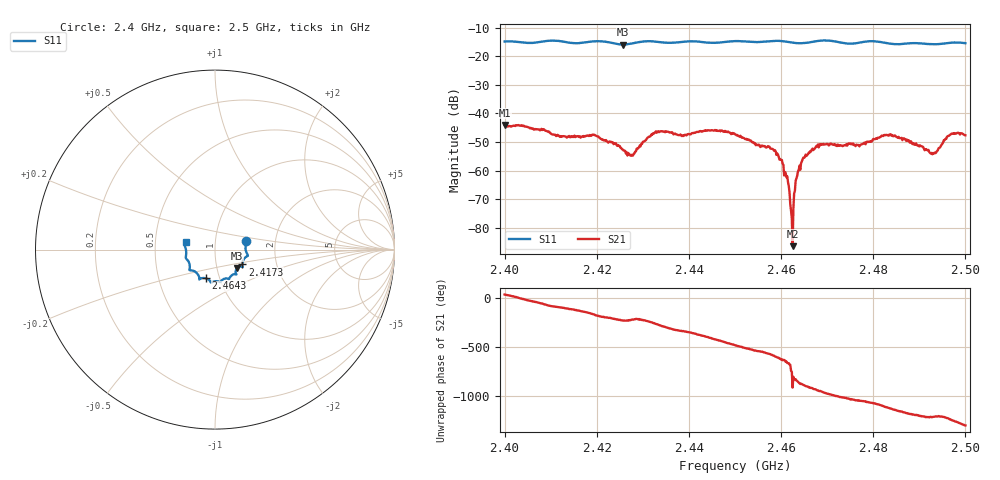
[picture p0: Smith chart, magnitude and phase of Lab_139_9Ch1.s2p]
# Hz S RI R 50
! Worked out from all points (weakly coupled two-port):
!   601 points, 2.4 GHz to 2.5 GHz, reference 50 ohm
!   highest |S21| = -44.10 dB at 2.4 GHz (marker M1); lowest = -86.5 dB at 2.4625 GHz (marker M2)
!   lowest |S11| = -15.9 dB at 2.4257 GHz (marker M3), VSWR 1.38, Z = 62.4 - j13.1 ohm
!   |S11| at or under -10 dB: start of sweep to end of sweep
!   S12 and S22 are empty: the file has one direction only
!   S11 on the Smith chart (normalised r, x): 2.4 GHz: 1.41, +0.14; 2.4173 GHz: 1.34, -0.23; 2.4643 GHz: 0.86, -0.28; 2.5 GHz: 0.72, +0.06
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2.4e9  0.1735 0.0495  0.0053 0.00329  0 0  0 0
2.416667e9  0.1529 -0.0751  -0.00291 -0.00259  0 0  0 0
2.417333e9  0.1523 -0.0825  -0.00317 -0.00229  0 0  0 0
2.419833e9  0.1541 -0.0971  -0.00406 -4.78e-05  0 0  0 0
2.425667e9  0.1224 -0.1024  -0.00139 0.00186  0 0  0 0
2.427667e9  0.1151 -0.1207  -0.00135 0.00123  0 0  0 0
2.433333e9  0.1127 -0.1367  0.000384 0.00485  0 0  0 0
2.45e9  0.0296 -0.1808  -0.00248 -0.00351  0 0  0 0
2.458833e9  -0.0209 -0.184  -0.00102 0.0019  0 0  0 0
2.460833e9  -0.0254 -0.1789  0.00015 0.00093  0 0  0 0
2.461333e9  -0.0269 -0.1761  0.000457 0.000649  0 0  0 0
2.462167e9  -0.0304 -0.1714  0.000179 -8.32e-05  0 0  0 0
2.4625e9  -0.0326 -0.1693  -4.57e-05 1.31e-05  0 0  0 0
2.463333e9  -0.0392 -0.1646  -0.000397 -0.000608  0 0  0 0
2.464333e9  -0.05 -0.1603  -0.00122 -0.00055  0 0  0 0
2.466667e9  -0.0762 -0.1596  -0.0022 0.00078  0 0  0 0
2.468833e9  -0.0871 -0.166  -0.00156 0.0024  0 0  0 0
2.477167e9  -0.1281 -0.1164  0.00243 0.00137  0 0  0 0
2.483333e9  -0.1406 -0.0896  0.00301 -0.00271  0 0  0 0
2.493e9  -0.1606 -0.0138  -0.00139 -0.00146  0 0  0 0
2.496667e9  -0.1695 0.0242  -0.00387 -0.0016  0 0  0 0
2.5e9  -0.1633 0.0416  -0.00309 0.00274  0 0  0 0
